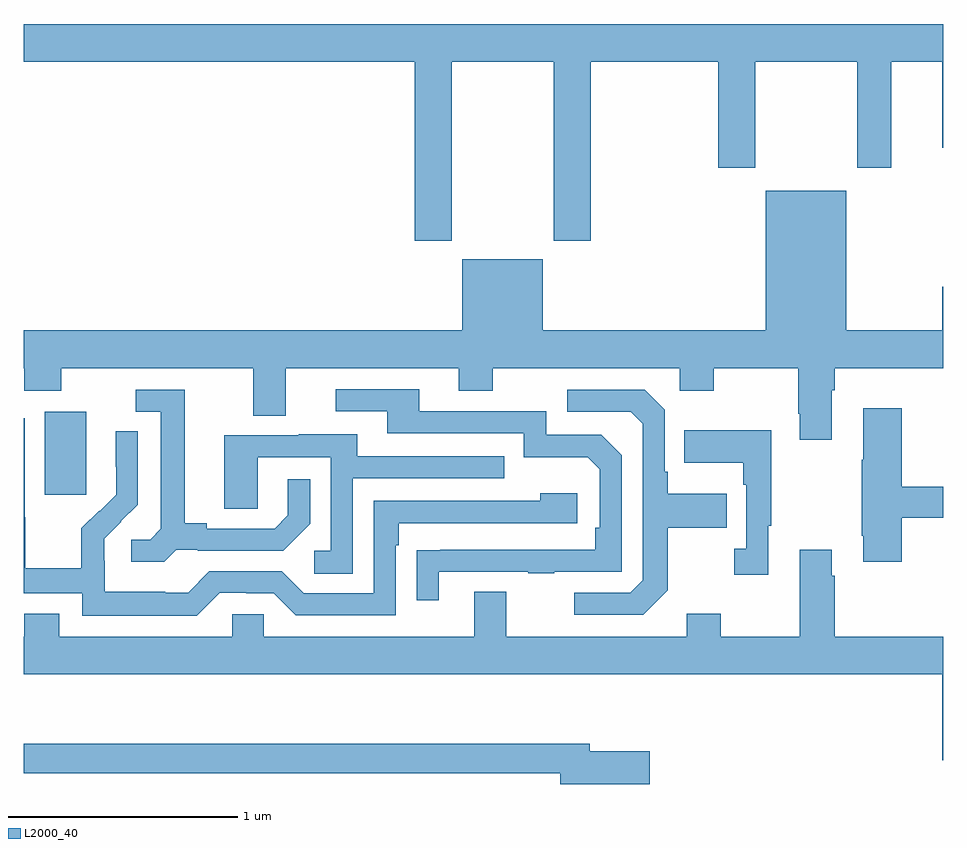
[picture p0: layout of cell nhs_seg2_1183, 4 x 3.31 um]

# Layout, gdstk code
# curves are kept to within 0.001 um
import gdstk
lib = gdstk.Library(unit=1e-6, precision=1e-09)
def R(c, l, rs):  # rectangles x0, y0, x1, y1
    for r in rs: c.add(gdstk.rectangle(r[:2], r[2:], *l))
def P(c, l, *ps):  # polygons
    for p in ps: c.add(gdstk.Polygon(p, *l))
L2000_40 = (2000, 40)

nhs_seg2_1183 = lib.new_cell('nhs_seg2_1183')
R(nhs_seg2_1183, L2000_40, [(173.093,603.129,173.272,603.49)])
P(nhs_seg2_1183, L2000_40, [(173,605.012),(174.701,605.012),(174.701,604.233),(174.861,604.233),(174.861,605.012),(175.306,605.012),(175.306,604.233),(175.466,604.233),(175.466,605.012),(176.021,605.012),(176.021,604.551),(176.181,604.551),(176.181,605.012),(176.626,605.012),(176.626,604.551),(176.773,604.551),(176.773,605.012),(176.996,605.012),(176.996,604.638),(177,604.638),(177,605.176),(173,605.176)],
  [(176.515,603.584),(176.528,603.584),(176.528,603.68),(177,603.68),(177,604.033),(176.996,604.033),(176.996,603.844),(176.578,603.844),(176.578,604.45),(176.228,604.45),(176.228,603.844),(175.258,603.844),(175.258,604.153),(174.908,604.153),(174.908,603.844),(173,603.844),(173,603.68),(173.003,603.68),(173.003,603.581),(173.163,603.581),(173.163,603.68),(173.999,603.68),(173.999,603.472),(174.139,603.472),(174.139,603.68),(174.893,603.68),(174.893,603.581),(175.041,603.581),(175.041,603.68),(175.854,603.68),(175.854,603.581),(176.001,603.581),(176.001,603.68),(176.368,603.68),(176.368,603.481),(176.375,603.481),(176.375,603.369),(176.515,603.369)],
  [(174.805,602.793),(175.195,602.793),(175.195,602.788),(175.307,602.788),(175.307,602.793),(175.602,602.793),(175.602,603.3),(175.512,603.39),(175.272,603.39),(175.272,603.492),(174.721,603.492),(174.721,603.588),(174.357,603.588),(174.357,603.492),(174.581,603.492),(174.581,603.396),(175.176,603.396),(175.176,603.293),(175.453,603.293),(175.506,603.24),(175.506,602.986),(175.486,602.986),(175.486,602.889),(174.709,602.888),(174.709,602.67),(174.805,602.67)],
  [(175.801,602.713),(175.801,602.986),(176.057,602.986),(176.057,603.133),(175.801,603.133),(175.801,603.229),(175.788,603.229),(175.788,603.498),(175.701,603.585),(175.365,603.585),(175.365,603.489),(175.641,603.489),(175.692,603.438),(175.692,602.757),(175.638,602.703),(175.395,602.703),(175.395,602.607),(175.695,602.607)],
  [(173.664,602.889),(173.758,602.889),(173.758,602.886),(174.13,602.886),(174.246,603.002),(174.246,603.196),(174.149,603.196),(174.149,603.039),(174.092,602.982),(173.797,602.982),(173.797,603.005),(173.701,603.005),(173.701,603.585),(173.487,603.585),(173.487,603.489),(173.597,603.489),(173.597,602.981),(173.55,602.934),(173.469,602.934),(173.469,602.837),(173.612,602.837)],
  [(176.819,603.028),(177,603.028),(177,603.164),(176.819,603.164),(176.819,603.505),(176.651,603.505),(176.651,603.281),(176.644,603.281),(176.644,602.95),(176.651,602.95),(176.651,602.838),(176.819,602.838)],
  [(173.853,602.703),(173.969,602.703),(173.969,602.7),(174.087,602.7),(174.183,602.604),(174.618,602.604),(174.618,602.909),(174.631,602.909),(174.631,603.006),(175.408,603.006),(175.408,603.136),(175.247,603.136),(175.247,603.102),(174.522,603.102),(174.522,602.7),(174.219,602.7),(174.123,602.796),(173.808,602.796),(173.715,602.703),(173.615,602.703),(173.615,602.707),(173.352,602.707),(173.352,602.841),(173.35,602.841),(173.35,602.938),(173.496,603.086),(173.496,603.404),(173.4,603.404),(173.4,603.25),(173.402,603.25),(173.402,603.128),(173.331,603.057),(173.328,603.06),(173.251,602.983),(173.251,602.809),(173.007,602.809),(173.007,603.032),(173.004,603.032),(173.004,603.462),(173,603.462),(173,602.7),(173.256,602.7),(173.256,602.603),(173.753,602.603)],
  [(176.239,602.993),(176.251,602.993),(176.251,603.409),(175.873,603.409),(175.873,603.269),(176.13,603.269),(176.13,603.173),(176.142,603.173),(176.142,602.894),(176.091,602.894),(176.091,602.781),(176.239,602.781)],
  [(174.432,603.201),(175.091,603.201),(175.091,603.297),(174.451,603.297),(174.451,603.391),(174.197,603.391),(174.197,603.387),(173.873,603.387),(173.873,603.067),(174.018,603.067),(174.018,603.291),(174.336,603.291),(174.336,602.886),(174.264,602.886),(174.264,602.785),(174.432,602.785)],
  [(177,602.512),(176.528,602.512),(176.528,602.777),(176.515,602.777),(176.515,602.89),(176.375,602.89),(176.375,602.512),(176.031,602.512),(176.031,602.611),(175.883,602.611),(175.883,602.512),(175.099,602.512),(175.099,602.707),(174.959,602.707),(174.959,602.512),(174.045,602.512),(174.045,602.61),(173.907,602.61),(173.907,602.512),(173.155,602.512),(173.155,602.611),(173.003,602.611),(173.003,602.512),(173,602.512),(173,602.348),(176.996,602.348),(176.996,601.974),(177,601.974)],
  [(175.723,602.013),(175.462,602.013),(175.462,602.047),(173,602.047),(173,601.918),(175.334,601.918),(175.334,601.871),(175.723,601.871)])

lib.write_gds('nhs_seg2_1183.gds')
